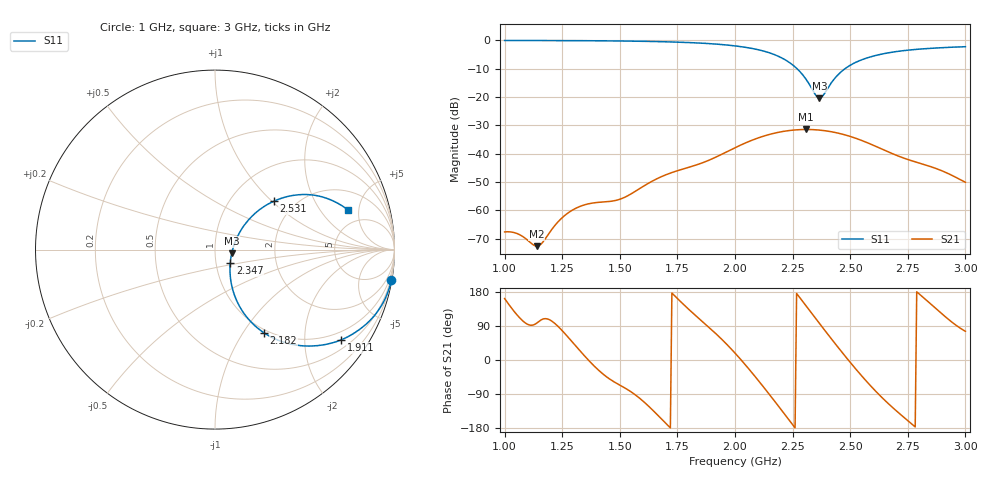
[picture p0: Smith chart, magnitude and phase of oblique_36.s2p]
! TOUCHSTONE file generated by CST MICROWAVE STUDIO
! Date and time: Tue Mar 18 00:01:00 2025
! Project name: oblique.cst
! Parameters = {Tilt=30; Fracture=1; B=10; D=160; F=15; Feed=2.85625; L=100; M=50; R=0.384908; S=2; Theta=270; length=57.125; wave=114.25}
! Header version: 2024
! Port assignment regex: !\s*Touchstone port\s*([0-9]+)\s*=\s*(CST MWS port|CST DES external port|CST DES block port)\s*(.+)\s* \(\"(.*)\"\)(\s*mode\s*([0-9]+))?.*
! Touchstone port assignment:
! Touchstone port 1 = CST MWS port 1 ("")
! Touchstone port 2 = CST MWS port 2 ("")
# GHz S DB R 50
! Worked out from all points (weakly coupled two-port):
!   304 points, 1 GHz to 3 GHz, reference 50 ohm
!   highest |S21| = -31.46 dB at 2.307 GHz (marker M1); lowest = -72.7 dB at 1.139 GHz (marker M2)
!   lowest |S11| = -20.4 dB at 2.366 GHz (marker M3), VSWR 1.21, Z = 60.2 - j2.63 ohm
!   |S11| at or under -10 dB: 2.269 GHz to 2.477 GHz (208.2 MHz wide, 8.77 % of centre)
!   S12 and S22 are empty: the file has one direction only
!   S11 on the Smith chart (normalised r, x): 1 GHz: 0, -12; 1.911 GHz: 0.74, -2.96; 2.182 GHz: 0.96, -1.25; 2.347 GHz: 1.17, -0.18; 2.531 GHz: 1.56, +1.02; 3 GHz: 3.51, +3.83
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1  -0.02 -9.8  -67.63 162.1  -200.00 0.0  -200.00 0.0
1.05941  -0.03 -10.6  -68.38 115.2  -200.00 0.0  -200.00 0.0
1.13861  -0.04 -11.8  -72.66 97.0  -200.00 0.0  -200.00 0.0
1.15842  -0.04 -12.1  -71.92 105.8  -200.00 0.0  -200.00 0.0
1.25083  -0.07 -13.7  -62.54 76.9  -200.00 0.0  -200.00 0.0
1.33663  -0.10 -15.3  -58.34 17.8  -200.00 0.0  -200.00 0.0
1.50165  -0.21 -19.1  -56.06 -66.9  -200.00 0.0  -200.00 0.0
1.66667  -0.42 -24.1  -48.64 -146.7  -200.00 0.0  -200.00 0.0
1.91089  -1.26 -35.5  -41.45 72.9  -200.00 0.0  -200.00 0.0
2.0033  -1.97 -41.9  -37.78 16.1  -200.00 0.0  -200.00 0.0
2.10231  -3.32 -50.8  -34.39 -54.9  -200.00 0.0  -200.00 0.0
2.18152  -5.37 -59.5  -32.57 -116.1  -200.00 0.0  -200.00 0.0
2.25413  -8.91 -66.3  -31.66 -173.8  -200.00 0.0  -200.00 0.0
2.30693  -13.56 -64.4  -31.46 144.0  -200.00 0.0  -200.00 0.0
2.33993  -17.94 -48.7  -31.52 117.6  -200.00 0.0  -200.00 0.0
2.34653  -18.84 -42.1  -31.55 112.4  -200.00 0.0  -200.00 0.0
2.36634  -20.42 -13.1  -31.67 96.7  -200.00 0.0  -200.00 0.0
2.45215  -11.73 41.8  -32.83 29.8  -200.00 0.0  -200.00 0.0
2.53135  -7.48 39.5  -34.77 -28.9  -200.00 0.0  -200.00 0.0
2.66997  -4.33 30.2  -39.54 -117.6  -200.00 0.0  -200.00 0.0
2.88779  -2.61 19.9  -45.71 127.3  -200.00 0.0  -200.00 0.0
3  -2.23 16.4  -50.10 75.8  -200.00 0.0  -200.00 0.0
